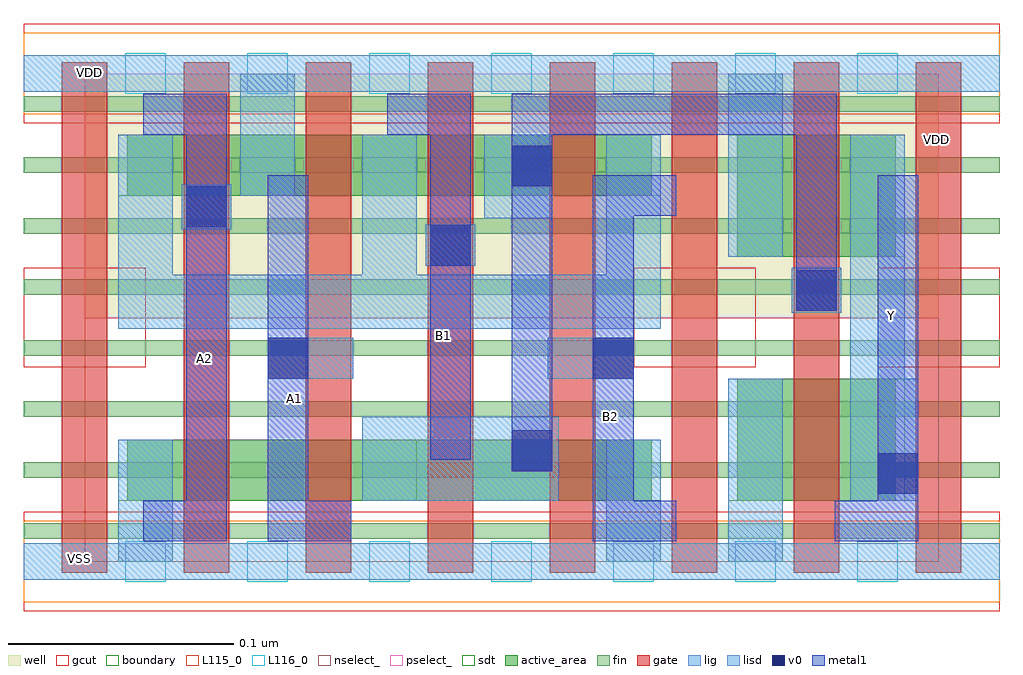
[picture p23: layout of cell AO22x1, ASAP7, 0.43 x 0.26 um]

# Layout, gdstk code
import gdstk
lib = gdstk.Library(unit=1e-6, precision=2.5e-10)
def R(c, l, rs):  # rectangles x0, y0, x1, y1
    for r in rs: c.add(gdstk.rectangle(r[:2], r[2:], *l))
def A(c, l, x, y, w, h, nx, ny, dx, dy):  # array of equal rectangles
    R(c, l, [(x+i*dx, y+j*dy, x+i*dx+w, y+j*dy+h) for i in range(nx) for j in range(ny)])
def P(c, l, *ps):  # polygons
    for p in ps: c.add(gdstk.Polygon(p, *l))
well = (1, 0)
fin = (2, 0)
gate = (7, 0)
gcut = (10, 0)
active_area = (11, 0)
nselect_ = (12, 0)
pselect_ = (13, 0)
lig = (16, 0)
lisd = (17, 0)
v0 = (18, 0)
metal1 = (19, 0)
sdt = (88, 0)
boundary = (100, 0)
L115_0 = (115, 0)
L116_0 = (116, 0)

ao22x1 = lib.new_cell('AO22x1')
R(ao22x1, well, [(0,0.108,0.378,0.216)])
A(ao22x1, fin, -0.027, 0.01, 0.432, 0.007, 1, 8, 0, 0.027)
A(ao22x1, gate, -0.01, -0.005, 0.02, 0.226, 8, 1, 0.054, 0)
R(ao22x1, gate, [(0.368,-0.005,0.388,0.221), (0.368,-0.005,0.388,0.221)])
R(ao22x1, gcut, [(-0.027,-0.022,0.405,0.022), (-0.027,0.086,0.027,0.13), (0.243,0.086,0.297,0.13), (0.351,0.086,0.405,0.13), (-0.027,0.194,0.405,0.238)])
R(ao22x1, active_area, [(0.019,0.027,0.251,0.054), (0.289,0.027,0.359,0.081), (0.289,0.135,0.359,0.189), (0.019,0.162,0.251,0.189)])
R(ao22x1, nselect_, [(0,0,0.378,0.108)])
R(ao22x1, pselect_, [(0,0.108,0.378,0.216)])
R(ao22x1, lig, [(-0.027,-0.008,0.405,0.008), (0.081,0.081,0.119,0.099), (0.205,0.081,0.243,0.099), (0.313,0.11,0.335,0.13), (0.151,0.131,0.173,0.149), (0.043,0.147,0.065,0.167), (-0.027,0.208,0.405,0.224)])
A(ao22x1, lisd, 0.015, 0.127, 0.024, 0.062, 3, 1, 0.108, 0)
R(ao22x1, lisd, [(0.015,0,0.039,0.054), (0.231,0,0.255,0.054), (0.285,0,0.309,0.081), (0.123,0.027,0.21,0.064), (0.339,0.027,0.369,0.081), (0.339,0.027,0.363,0.189), (0.015,0.103,0.255,0.127), (0.285,0.135,0.309,0.216), (0.177,0.152,0.207,0.189), (0.069,0.162,0.093,0.216)])
R(ao22x1, v0, [(0.351,0.03,0.369,0.048), (0.189,0.04,0.207,0.058), (0.081,0.081,0.099,0.099), (0.225,0.081,0.243,0.099), (0.315,0.111,0.333,0.129), (0.153,0.131,0.171,0.149), (0.045,0.148,0.063,0.166), (0.189,0.166,0.207,0.184)])
R(ao22x1, metal1, [(0.026,0.009,0.063,0.027), (0.045,0.009,0.063,0.207), (0.081,0.009,0.118,0.027), (0.081,0.009,0.099,0.171), (0.225,0.009,0.262,0.027), (0.225,0.009,0.243,0.171), (0.332,0.009,0.369,0.027), (0.351,0.009,0.369,0.171), (0.189,0.04,0.207,0.207), (0.153,0.045,0.171,0.207), (0.225,0.153,0.262,0.171), (0.026,0.189,0.063,0.207), (0.134,0.189,0.171,0.207)])
P(ao22x1, metal1, [(0.333,0.207),(0.189,0.207),(0.189,0.189),(0.315,0.189),(0.315,0.111),(0.333,0.111)])
A(ao22x1, sdt, 0.015, 0.027, 0.024, 0.027, 3, 1, 0.108, 0)
A(ao22x1, sdt, 0.015, 0.162, 0.024, 0.027, 5, 1, 0.054, 0)
R(ao22x1, sdt, [(0.285,0.027,0.309,0.081), (0.339,0.027,0.363,0.081), (0.285,0.135,0.309,0.189), (0.339,0.135,0.363,0.189), (0.339,0.135,0.363,0.189)])
R(ao22x1, boundary, [(0,0,0.378,0.216)])
R(ao22x1, L115_0, [(-0.027,-0.018,0.405,0.018), (-0.027,0.198,0.405,0.234)])
A(ao22x1, L116_0, 0.018, -0.009, 0.018, 0.018, 7, 2, 0.054, 0.216)
ao22x1.add(gdstk.Label('Y', (0.357,0.109), layer=19, texttype=251))
ao22x1.add(gdstk.Label('B1', (0.159,0.1), layer=19, texttype=251))
ao22x1.add(gdstk.Label('A1', (0.093,0.072), layer=19, texttype=251))
ao22x1.add(gdstk.Label('A2', (0.053,0.09), layer=19, texttype=251))
ao22x1.add(gdstk.Label('B2', (0.233,0.064), layer=19, texttype=251))
ao22x1.add(gdstk.Label('VDD', (0.377,0.187), layer=1, texttype=251))
ao22x1.add(gdstk.Label('VSS', (0.444,0.182), layer=3, texttype=251))
ao22x1.add(gdstk.Label('VSS', (-0.002,0.0015), layer=115, texttype=251))
ao22x1.add(gdstk.Label('VDD', (0.002,0.2165), layer=115, texttype=251))

lib.write_gds('AO22x1.gds')
